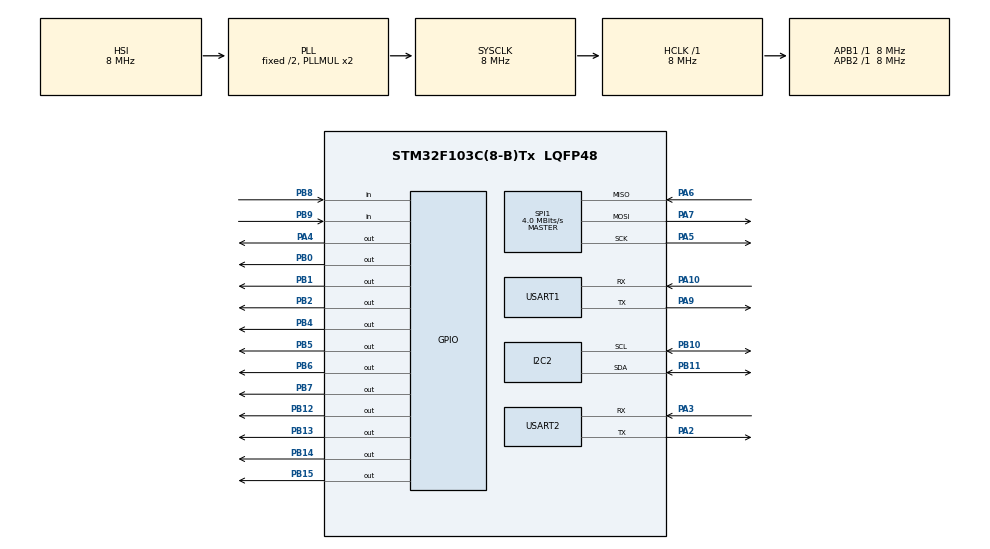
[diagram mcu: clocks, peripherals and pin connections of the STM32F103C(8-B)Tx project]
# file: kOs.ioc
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Mcu.Family=STM32F1
PA6.Mode=Full_Duplex_Master
PA7.Mode=Full_Duplex_Master
PA10.Mode=Multiprocessor_communication
SPI1.VirtualType=VM_MASTER
PB10.Mode=I2C
SPI1.CLKPhase=SPI_PHASE_1EDGE
PB11.Signal=I2C2_SDA
PB13.Signal=GPIO_Output
PB15.Signal=GPIO_Output
RCC.SYSCLKSource=RCC_SYSCLKSOURCE_PLLCLK
ProjectManager.StackSize=0x400
PA3.Mode=Multiprocessor_communication
PA13.Signal=SYS_JTMS-SWDIO
PA9.Mode=Multiprocessor_communication
SPI1.CLKPolarity=SPI_POLARITY_LOW
PB11.Mode=I2C
ProjectManager.TargetToolchain=STM32CubeIDE
SPI1.Direction=SPI_DIRECTION_2LINES
RCC.HCLKFreq_Value=8000000
RCC.APB2TimFreq_Value=8000000
PA9.Signal=USART1_TX
PB6.Signal=GPIO_Output
SPI1.CalculateBaudRate=4.0 MBits/s
RCC.USBFreq_Value=8000000
RCC.AHBFreq_Value=8000000
PB10.Signal=I2C2_SCL
PB14.Signal=GPIO_Output
PA5.Signal=SPI1_SCK
PB2.Signal=GPIO_Output
PB3.Mode=JTAG_4_pins
board=custom
PA15.Mode=JTAG_4_pins
RCC.APB2Freq_Value=8000000
SPI1.CRCCalculation=SPI_CRCCALCULATION_DISABLE
SPI1.Mode=SPI_MODE_MASTER
PA14.Mode=JTAG_4_pins
SPI1.DataSize=SPI_DATASIZE_8BIT
PB7.Signal=GPIO_Output
SPI1.FirstBit=SPI_FIRSTBIT_MSB
PA13.Mode=JTAG_4_pins
Mcu.Name=STM32F103C(8-B)Tx
PA2.Signal=USART2_TX
PB3.Signal=SYS_JTDO-TRACESWO
PA4.Signal=GPIO_Output
RCC.SYSCLKFreq_VALUE=8000000
Mcu.Package=LQFP48
PB5.Signal=GPIO_Output
PB9.Signal=GPIO_Input
PB1.Signal=GPIO_Output
PA6.Signal=SPI1_MISO
USART2.VirtualMode=VM_ASYNC
USART1.VirtualMode=VM_ASYNC
PA10.Signal=USART1_RX
PA14.Signal=SYS_JTCK-SWCLK
PA15.Signal=SYS_JTDI
ProjectManager.HeapSize=0x200
NVIC.PriorityGroup=NVIC_PRIORITYGROUP_4
RCC.APB1TimFreq_Value=8000000
PA2.Mode=Multiprocessor_communication
PB8.Signal=GPIO_Input
NVIC.USART1_IRQn=true\:0\:0\:false\:false\:true\:true\:true
RCC.APB1Freq_Value=8000000
SPI1.BaudRatePrescaler=SPI_BAUDRATEPRESCALER_2
PB0.Signal=GPIO_Output
PB12.Signal=GPIO_Output
PB4.Signal=GPIO_Output
PA3.Signal=USART2_RX
PA5.Mode=Full_Duplex_Master
PA7.Signal=SPI1_MOSI

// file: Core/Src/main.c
/* USER CODE BEGIN Header */
/**
  ******************************************************************************
  * @file           : main.c
  * @brief          : Main program body
  ******************************************************************************
  * @attention
  *
  * <h2><center>&copy; Copyright (c) 2020 STMicroelectronics.
  * All rights reserved.</center></h2>
  *
  * This software component is licensed by ST under BSD 3-Clause license,
  * the "License"; You may not use this file except in compliance with the
  * License. You may obtain a copy of the License at:
  *                        opensource.org/licenses/BSD-3-Clause
  *
  ******************************************************************************
  */
/* USER CODE END Header */
#include "main.h"

/* USER CODE BEGIN Includes */
#include "logger.h"
#include "flash_rw.h"
#include "ssd1306.h"
#include "terminal.h"
#include "util.h"
#include "stdio.h"
/* USER CODE END Includes */

I2C_HandleTypeDef hi2c2;

SPI_HandleTypeDef hspi1;

UART_HandleTypeDef huart1;
UART_HandleTypeDef huart2;

void SystemClock_Config(void);
static void MX_GPIO_Init(void);
static void MX_USART1_UART_Init(void);
static void MX_SPI1_Init(void);
static void MX_USART2_UART_Init(void);
static void MX_I2C2_Init(void);

int main(void)
{

  /* MCU Configuration--------------------------------------------------------*/

  /* Reset of all peripherals, Initializes the Flash interface and the Systick. */
  HAL_Init();

  /* Configure the system clock */
  SystemClock_Config();

  /* Initialize all configured peripherals */
  MX_GPIO_Init();
  MX_USART1_UART_Init();
  MX_SPI1_Init();
  MX_USART2_UART_Init();
  MX_I2C2_Init();
  /* USER CODE BEGIN 2 */

    Terminal_init(&UtilGetcTimeout, &UtilPutcTimeout);
  /* USER CODE END 2 */

  /* Infinite loop */
    while (1) {

    /* USER CODE BEGIN 3 */
        if (Terminal_Run()) {
            break;
        }
    }
    Terminal_Free();
    HAL_Delay(100);
    __set_FAULTMASK(1);
    NVIC_SystemReset(); //关闭所有中断，系统复位;
#pragma clang diagnostic push
#pragma ide diagnostic ignored "EndlessLoop"
    while (1) {
    }
#pragma clang diagnostic pop
  /* USER CODE END 3 */
}

void SystemClock_Config(void)
{
  RCC_OscInitTypeDef RCC_OscInitStruct = {0};
  RCC_ClkInitTypeDef RCC_ClkInitStruct = {0};

  /** Initializes the RCC Oscillators according to the specified parameters
  * in the RCC_OscInitTypeDef structure.
  */
  RCC_OscInitStruct.OscillatorType = RCC_OSCILLATORTYPE_HSI;
  RCC_OscInitStruct.HSIState = RCC_HSI_ON;
  RCC_OscInitStruct.HSICalibrationValue = RCC_HSICALIBRATION_DEFAULT;
  RCC_OscInitStruct.PLL.PLLState = RCC_PLL_ON;
  RCC_OscInitStruct.PLL.PLLSource = RCC_PLLSOURCE_HSI_DIV2;
  RCC_OscInitStruct.PLL.PLLMUL = RCC_PLL_MUL2;
  if (HAL_RCC_OscConfig(&RCC_OscInitStruct) != HAL_OK)
  {
    Error_Handler();
  }
  /** Initializes the CPU, AHB and APB buses clocks
  */
  RCC_ClkInitStruct.ClockType = RCC_CLOCKTYPE_HCLK|RCC_CLOCKTYPE_SYSCLK
                              |RCC_CLOCKTYPE_PCLK1|RCC_CLOCKTYPE_PCLK2;
  RCC_ClkInitStruct.SYSCLKSource = RCC_SYSCLKSOURCE_PLLCLK;
  RCC_ClkInitStruct.AHBCLKDivider = RCC_SYSCLK_DIV1;
  RCC_ClkInitStruct.APB1CLKDivider = RCC_HCLK_DIV1;
  RCC_ClkInitStruct.APB2CLKDivider = RCC_HCLK_DIV1;

  if (HAL_RCC_ClockConfig(&RCC_ClkInitStruct, FLASH_LATENCY_0) != HAL_OK)
  {
    Error_Handler();
  }
}

static void MX_I2C2_Init(void)
{

  hi2c2.Instance = I2C2;
  hi2c2.Init.ClockSpeed = 100000;
  hi2c2.Init.DutyCycle = I2C_DUTYCYCLE_2;
  hi2c2.Init.OwnAddress1 = 0;
  hi2c2.Init.AddressingMode = I2C_ADDRESSINGMODE_7BIT;
  hi2c2.Init.DualAddressMode = I2C_DUALADDRESS_DISABLE;
  hi2c2.Init.OwnAddress2 = 0;
  hi2c2.Init.GeneralCallMode = I2C_GENERALCALL_DISABLE;
  hi2c2.Init.NoStretchMode = I2C_NOSTRETCH_DISABLE;
  if (HAL_I2C_Init(&hi2c2) != HAL_OK)
  {
    Error_Handler();
  }

}

static void MX_SPI1_Init(void)
{

  /* SPI1 parameter configuration*/
  hspi1.Instance = SPI1;
  hspi1.Init.Mode = SPI_MODE_MASTER;
  hspi1.Init.Direction = SPI_DIRECTION_2LINES;
  hspi1.Init.DataSize = SPI_DATASIZE_8BIT;
  hspi1.Init.CLKPolarity = SPI_POLARITY_LOW;
  hspi1.Init.CLKPhase = SPI_PHASE_1EDGE;
  hspi1.Init.NSS = SPI_NSS_SOFT;
  hspi1.Init.BaudRatePrescaler = SPI_BAUDRATEPRESCALER_2;
  hspi1.Init.FirstBit = SPI_FIRSTBIT_MSB;
  hspi1.Init.TIMode = SPI_TIMODE_DISABLE;
  hspi1.Init.CRCCalculation = SPI_CRCCALCULATION_DISABLE;
  hspi1.Init.CRCPolynomial = 10;
  if (HAL_SPI_Init(&hspi1) != HAL_OK)
  {
    Error_Handler();
  }

}

static void MX_USART1_UART_Init(void)
{

  huart1.Instance = USART1;
  huart1.Init.BaudRate = 115200;
  huart1.Init.WordLength = UART_WORDLENGTH_8B;
  huart1.Init.StopBits = UART_STOPBITS_1;
  huart1.Init.Parity = UART_PARITY_NONE;
  huart1.Init.Mode = UART_MODE_TX_RX;
  huart1.Init.HwFlowCtl = UART_HWCONTROL_NONE;
  huart1.Init.OverSampling = UART_OVERSAMPLING_16;
  if (HAL_MultiProcessor_Init(&huart1, 0, UART_WAKEUPMETHOD_IDLELINE) != HAL_OK)
  {
    Error_Handler();
  }

}

static void MX_USART2_UART_Init(void)
{

  huart2.Instance = USART2;
  huart2.Init.BaudRate = 115200;
  huart2.Init.WordLength = UART_WORDLENGTH_8B;
  huart2.Init.StopBits = UART_STOPBITS_1;
  huart2.Init.Parity = UART_PARITY_NONE;
  huart2.Init.Mode = UART_MODE_TX_RX;
  huart2.Init.HwFlowCtl = UART_HWCONTROL_NONE;
  huart2.Init.OverSampling = UART_OVERSAMPLING_16;
  if (HAL_MultiProcessor_Init(&huart2, 0, UART_WAKEUPMETHOD_IDLELINE) != HAL_OK)
  {
    Error_Handler();
  }

}

static void MX_GPIO_Init(void)
{
  GPIO_InitTypeDef GPIO_InitStruct = {0};

  /* GPIO Ports Clock Enable */
  __HAL_RCC_GPIOA_CLK_ENABLE();
  __HAL_RCC_GPIOB_CLK_ENABLE();

  /*Configure GPIO pin Output Level */
  HAL_GPIO_WritePin(GPIOA, GPIO_PIN_4, GPIO_PIN_RESET);

  /*Configure GPIO pin Output Level */
  HAL_GPIO_WritePin(GPIOB, GPIO_PIN_0|GPIO_PIN_1|GPIO_PIN_2|GPIO_PIN_12
                          |GPIO_PIN_13|GPIO_PIN_14|GPIO_PIN_15|GPIO_PIN_4
                          |GPIO_PIN_5|GPIO_PIN_6|GPIO_PIN_7, GPIO_PIN_RESET);

  /*Configure GPIO pin : PA4 */
  GPIO_InitStruct.Pin = GPIO_PIN_4;
  GPIO_InitStruct.Mode = GPIO_MODE_OUTPUT_PP;
  GPIO_InitStruct.Pull = GPIO_NOPULL;
  GPIO_InitStruct.Speed = GPIO_SPEED_FREQ_LOW;
  HAL_GPIO_Init(GPIOA, &GPIO_InitStruct);

  /*Configure GPIO pins : PB0 PB1 PB2 PB12
                           PB13 PB14 PB15 PB4
                           PB5 PB6 PB7 */
  GPIO_InitStruct.Pin = GPIO_PIN_0|GPIO_PIN_1|GPIO_PIN_2|GPIO_PIN_12
                          |GPIO_PIN_13|GPIO_PIN_14|GPIO_PIN_15|GPIO_PIN_4
                          |GPIO_PIN_5|GPIO_PIN_6|GPIO_PIN_7;
  GPIO_InitStruct.Mode = GPIO_MODE_OUTPUT_PP;
  GPIO_InitStruct.Pull = GPIO_NOPULL;
  GPIO_InitStruct.Speed = GPIO_SPEED_FREQ_LOW;
  HAL_GPIO_Init(GPIOB, &GPIO_InitStruct);

  /*Configure GPIO pins : PB8 PB9 */
  GPIO_InitStruct.Pin = GPIO_PIN_8|GPIO_PIN_9;
  GPIO_InitStruct.Mode = GPIO_MODE_INPUT;
  GPIO_InitStruct.Pull = GPIO_NOPULL;
  HAL_GPIO_Init(GPIOB, &GPIO_InitStruct);

}

void Error_Handler(void)
{
}

/************************ (C) COPYRIGHT STMicroelectronics *****END OF FILE****/
